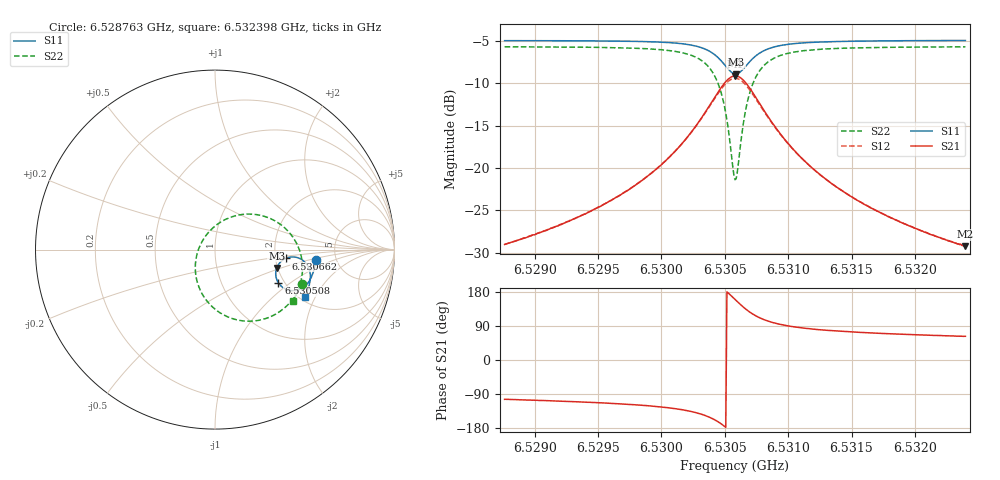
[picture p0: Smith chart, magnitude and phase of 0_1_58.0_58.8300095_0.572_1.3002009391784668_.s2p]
#  HZ  S  RI  R  50.00
! Rohde & Schwarz Vector Network Analyzer
! Rohde-Schwarz,ZNB20-2Port,1311601062101988,3.16
! Created: UTC 3/21/2024, 12:50:12 AM
! freq[Hz]  re:S11  im:S11  re:S21  im:S21  re:S12  im:S12  re:S22  im:S22
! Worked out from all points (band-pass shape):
!   401 points, 6.528763 GHz to 6.532398 GHz, reference 50 ohm
!   highest |S21| = -9.14 dB at 6.530581 GHz (marker M1); lowest = -29.2 dB at 6.532398 GHz (marker M2)
!   |S21| within 3 dB of the highest: 6.530401 GHz to 6.530764 GHz (363.3 kHz wide, 0.00556 % of centre)
!   lowest |S11| = -8.9 dB at 6.53059 GHz (marker M3), VSWR 2.12, Z = 98.7 - j23.3 ohm
!   |S11| at or under -10 dB: nowhere
!   |S22| runs from -21.4 to -5.7 dB; largest |S21 - S12| = 0.015
!   S11 on the Smith chart (normalised r, x): 6.528763 GHz: 3.49, -0.57; 6.530508 GHz: 1.86, -0.82; 6.530662 GHz: 2.28, -0.27; 6.532398 GHz: 2.12, -1.65
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6.5287628e9  0.5613 -0.0559  -0.0084 -0.0343  -0.00902 -0.0342  0.4834 -0.1897
6.5293718e9  0.5521 -0.1091  -0.0186 -0.049  -0.0199 -0.0487  0.4509 -0.2517
6.5296899e9  0.5423 -0.141  -0.0308 -0.0632  -0.0326 -0.0624  0.4191 -0.2937
6.5299807e9  0.5247 -0.1759  -0.0558 -0.0849  -0.0584 -0.0832  0.3625 -0.3442
6.5301989e9  0.4948 -0.2084  -0.1031 -0.1091  -0.1065 -0.1052  0.2673 -0.3887
6.5303534e9  0.4449 -0.2282  -0.1836 -0.1167  -0.1862 -0.1085  0.12 -0.391
6.5304443e9  0.3928 -0.2198  -0.2655 -0.0839  -0.2638 -0.0718  -0.0152 -0.3183
6.5304806e9  0.369 -0.204  -0.3008 -0.0495  -0.2957 -0.0368  -0.0681 -0.2528
6.5305079e9  0.3533 -0.1852  -0.323 -0.0124  -0.3148 -0.000551  -0.0972 -0.1864
6.5305624e9  0.3383 -0.1321  -0.3368 0.0849  -0.3236 0.0916  -0.0999 -0.0235
6.5305806e9  0.341 -0.1125  -0.3283 0.1194  -0.3147 0.1237  -0.0793 0.0312
6.5305897e9  0.3438 -0.1029  -0.3217 0.1359  -0.3079 0.1389  -0.065 0.0569
6.5306079e9  0.3526 -0.085  -0.3036 0.1661  -0.2903 0.1668  -0.0298 0.103
6.5306624e9  0.3934 -0.0491  -0.2268 0.2257  -0.2177 0.2218  0.1071 0.1867
6.5306988e9  0.4238 -0.0411  -0.1732 0.2382  -0.167 0.2336  0.1987 0.1978
6.5307351e9  0.4505 -0.0426  -0.1271 0.2356  -0.123 0.2315  0.2758 0.185
6.5308533e9  0.503 -0.0721  -0.0383 0.1909  -0.0368 0.189  0.4195 0.0885
6.5309805e9  0.5237 -0.1061  -0.00271 0.145  -0.00154 0.1443  0.4714 -0.00422
6.5311896e9  0.5314 -0.1466  0.0144 0.0989  0.0154 0.0986  0.4877 -0.0999
6.5314714e9  0.528 -0.1841  0.0185 0.0671  0.0194 0.067  0.4799 -0.1727
6.5317986e9  0.5193 -0.2171  0.0181 0.048  0.019 0.0478  0.464 -0.2242
6.5323985e9  0.4993 -0.2659  0.0159 0.0306  0.0167 0.0302  0.4331 -0.2854
